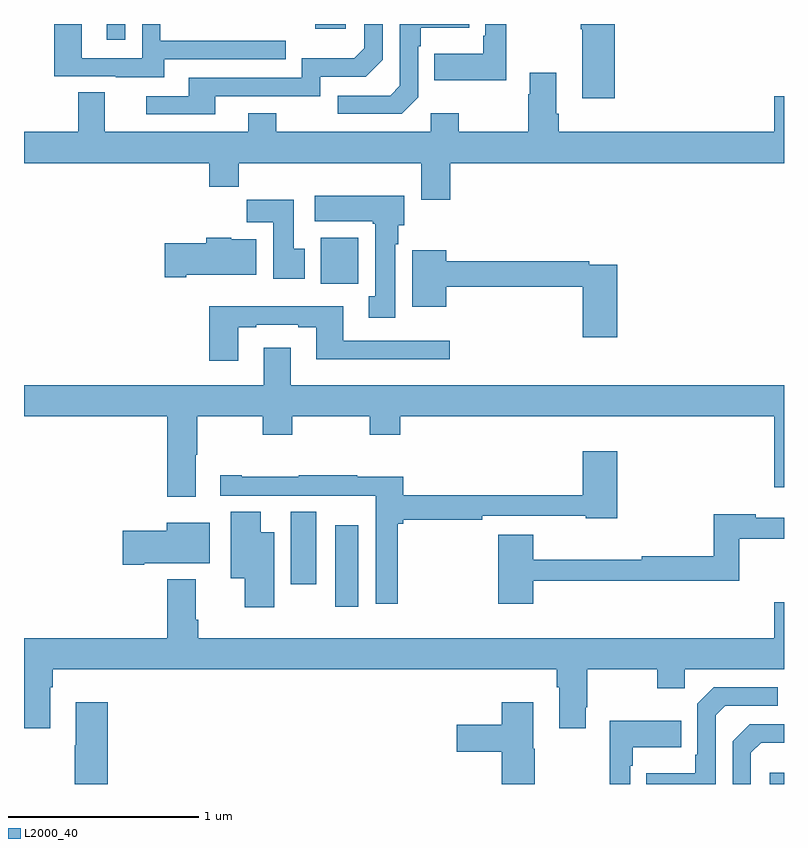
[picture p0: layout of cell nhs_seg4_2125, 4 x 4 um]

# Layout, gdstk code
import gdstk
lib = gdstk.Library(unit=1e-6, precision=1e-09)
def R(c, l, rs):  # rectangles x0, y0, x1, y1
    for r in rs: c.add(gdstk.rectangle(r[:2], r[2:], *l))
def P(c, l, *ps):  # polygons
    for p in ps: c.add(gdstk.Polygon(p, *l))
L2000_40 = (2000, 40)

nhs_seg4_2125 = lib.new_cell('nhs_seg4_2125')
R(nhs_seg4_2125, L2000_40, [(224.925,778.9,225,778.96), (222.638,779.832,222.76,780.262), (222.404,779.952,222.538,780.332), (222.563,781.532,222.76,781.774), (221.435,782.817,221.532,782.9), (222.533,782.876,222.694,782.9)])
P(nhs_seg4_2125, L2000_40, [(221.737,782.715),(222.377,782.715),(222.377,782.811),(221.718,782.811),(221.718,782.9),(221.622,782.9),(221.622,782.721),(221.304,782.721),(221.304,782.9),(221.159,782.9),(221.159,782.625),(221.483,782.625),(221.483,782.621),(221.737,782.621)],
  [(222.007,782.52),(222.558,782.52),(222.558,782.622),(222.798,782.622),(222.888,782.712),(222.888,782.9),(222.792,782.9),(222.792,782.772),(222.739,782.719),(222.462,782.719),(222.462,782.616),(221.867,782.616),(221.867,782.52),(221.643,782.52),(221.643,782.424),(222.007,782.424)],
  [(224.11,782.9),(223.93,782.9),(223.93,782.873),(223.937,782.873),(223.937,782.508),(224.11,782.508)],
  [(223.074,782.514),(223.074,782.783),(223.087,782.783),(223.087,782.879),(223.343,782.879),(223.343,782.9),(222.978,782.9),(222.978,782.574),(222.927,782.523),(222.651,782.523),(222.651,782.427),(222.987,782.427)],
  [(223.537,782.9),(223.428,782.9),(223.428,782.839),(223.416,782.839),(223.416,782.743),(223.159,782.743),(223.159,782.603),(223.537,782.603)],
  [(223.244,782.168),(225,782.168),(225,782.521),(224.948,782.521),(224.948,782.332),(223.814,782.332),(223.814,782.428),(223.801,782.428),(223.801,782.644),(223.661,782.644),(223.661,782.531),(223.654,782.531),(223.654,782.332),(223.287,782.332),(223.287,782.431),(223.14,782.431),(223.14,782.332),(222.327,782.332),(222.327,782.431),(222.179,782.431),(222.179,782.332),(221.425,782.332),(221.425,782.54),(221.285,782.54),(221.285,782.332),(221,782.332),(221,782.168),(221.975,782.168),(221.975,782.044),(222.131,782.044),(222.131,782.168),(223.091,782.168),(223.091,781.974),(223.244,781.974)],
  [(222.955,781.742),(222.97,781.742),(222.97,781.842),(223,781.842),(223,781.996),(222.531,781.996),(222.531,781.862),(222.835,781.862),(222.835,781.849),(222.848,781.849),(222.848,781.466),(222.815,781.466),(222.815,781.353),(222.955,781.353)],
  [(222.478,781.716),(222.421,781.716),(222.421,781.975),(222.172,781.975),(222.172,781.856),(222.311,781.856),(222.311,781.56),(222.478,781.56)],
  [(221.854,781.58),(222.223,781.58),(222.223,781.768),(222.09,781.768),(222.09,781.774),(221.96,781.774),(221.96,781.746),(221.742,781.746),(221.742,781.568),(221.854,781.568)],
  [(224.123,781.632),(223.976,781.632),(223.976,781.652),(223.222,781.652),(223.222,781.708),(223.043,781.708),(223.043,781.412),(223.222,781.412),(223.222,781.516),(223.94,781.516),(223.94,781.251),(224.123,781.251)],
  [(222.127,781.305),(222.223,781.305),(222.223,781.317),(222.443,781.317),(222.443,781.305),(222.539,781.305),(222.539,781.136),(223.24,781.136),(223.24,781.233),(222.679,781.233),(222.679,781.414),(221.975,781.414),(221.975,781.128),(222.127,781.128)],
  [(221.905,780.632),(221.913,780.632),(221.913,780.836),(222.256,780.836),(222.256,780.737),(222.411,780.737),(222.411,780.836),(222.82,780.836),(222.82,780.737),(222.98,780.737),(222.98,780.836),(224.948,780.836),(224.948,780.462),(225,780.462),(225,781),(222.403,781),(222.403,781.195),(222.263,781.195),(222.263,781),(221,781),(221,780.836),(221.753,780.836),(221.753,780.411),(221.905,780.411)],
  [(222.968,780.269),(222.995,780.269),(222.995,780.292),(223.412,780.292),(223.412,780.312),(223.956,780.312),(223.956,780.299),(224.123,780.299),(224.123,780.652),(223.94,780.652),(223.94,780.421),(222.995,780.421),(222.995,780.516),(222.755,780.516),(222.755,780.526),(222.445,780.526),(222.445,780.516),(222.145,780.516),(222.145,780.526),(222.033,780.526),(222.033,780.417),(222.642,780.417),(222.642,780.416),(222.852,780.416),(222.852,779.85),(222.968,779.85)],
  [(222.316,780.226),(222.247,780.226),(222.247,780.332),(222.089,780.332),(222.089,779.984),(222.161,779.984),(222.161,779.829),(222.316,779.829)],
  [(223.679,779.97),(224.765,779.97),(224.765,780.192),(225,780.192),(225,780.301),(224.852,780.301),(224.852,780.32),(224.629,780.32),(224.629,780.098),(224.252,780.098),(224.252,780.081),(223.679,780.081),(223.679,780.211),(223.496,780.211),(223.496,779.85),(223.679,779.85)],
  [(221.632,780.062),(221.977,780.062),(221.977,780.274),(221.75,780.274),(221.75,780.233),(221.52,780.233),(221.52,780.055),(221.632,780.055)],
  [(221.137,779.408),(221.15,779.408),(221.15,779.504),(223.805,779.504),(223.805,779.408),(223.817,779.408),(223.817,779.193),(223.957,779.193),(223.957,779.305),(223.965,779.305),(223.965,779.504),(224.332,779.504),(224.332,779.405),(224.478,779.405),(224.478,779.504),(225,779.504),(225,779.857),(224.948,779.857),(224.948,779.668),(221.918,779.668),(221.918,779.764),(221.905,779.764),(221.905,779.977),(221.753,779.977),(221.753,779.668),(221,779.668),(221,779.193),(221.137,779.193)],
  [(224.64,779.262),(224.691,779.313),(224.968,779.313),(224.968,779.409),(224.631,779.409),(224.544,779.322),(224.544,779.053),(224.532,779.053),(224.532,778.957),(224.275,778.957),(224.275,778.9),(224.64,778.9)],
  [(223.689,779.085),(223.681,779.085),(223.681,779.329),(223.514,779.329),(223.514,779.211),(223.278,779.211),(223.278,779.069),(223.514,779.069),(223.514,778.9),(223.689,778.9)],
  [(221.441,779.329),(221.273,779.329),(221.273,779.105),(221.266,779.105),(221.266,778.9),(221.441,778.9)],
  [(224.19,778.997),(224.203,778.997),(224.203,779.093),(224.459,779.093),(224.459,779.233),(224.082,779.233),(224.082,778.9),(224.19,778.9)],
  [(224.826,779.064),(224.879,779.117),(225,779.117),(225,779.214),(224.82,779.214),(224.73,779.124),(224.73,778.9),(224.826,778.9)])

lib.write_gds('nhs_seg4_2125.gds')
